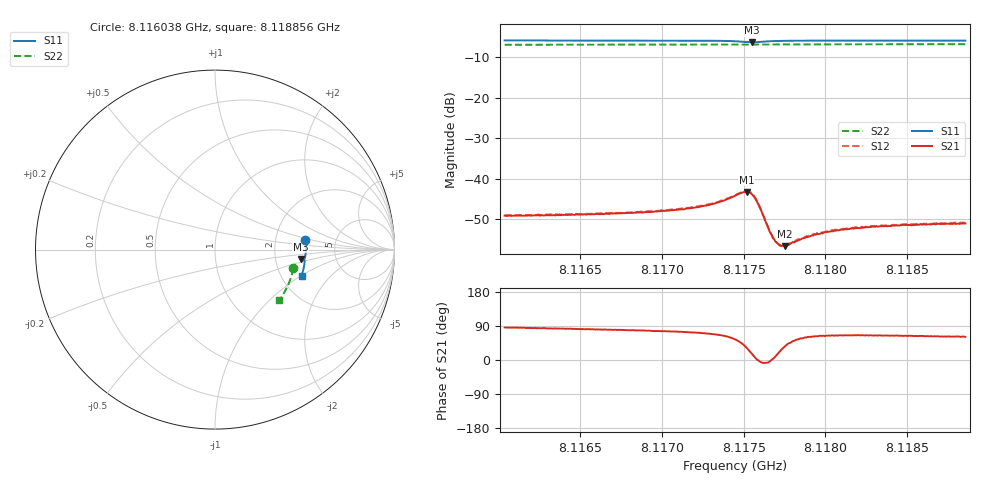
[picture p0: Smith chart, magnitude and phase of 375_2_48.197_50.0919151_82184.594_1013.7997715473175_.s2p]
#  HZ  S  RI  R  50.00
! Rohde & Schwarz Vector Network Analyzer
! Rohde-Schwarz,ZNB20-2Port,1311601062101988,3.16
! Created: UTC 3/20/2024, 11:52:52 AM
! freq[Hz]  re:S11  im:S11  re:S21  im:S21  re:S12  im:S12  re:S22  im:S22
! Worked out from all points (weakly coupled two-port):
!   401 points, 8.116038 GHz to 8.118856 GHz, reference 50 ohm
!   highest |S21| = -43.21 dB at 8.117517 GHz (marker M1); lowest = -56.6 dB at 8.11775 GHz (marker M2)
!   lowest |S11| = -6.4 dB at 8.117553 GHz (marker M3), VSWR 2.85, Z = 140 - j19 ohm
!   |S11| at or under -10 dB: nowhere
!   |S22| runs from -7.0 to -6.8 dB; largest |S21 - S12| = 0.00018
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8.1160381e9  0.5042 0.0553  0.000242 0.0035  0.000292 0.00357  0.4366 -0.1039
8.1165101e9  0.5062 0.0199  0.000563 0.0036  0.000595 0.00364  0.4291 -0.1357
8.1169821e9  0.5054 -0.0166  0.000936 0.00387  0.000986 0.00393  0.4192 -0.1671
8.11713e9  0.5043 -0.0286  0.00117 0.00406  0.00125 0.00412  0.4157 -0.1767
8.1172709e9  0.5021 -0.0409  0.00161 0.00439  0.00166 0.00448  0.412 -0.186
8.1173413e9  0.5001 -0.0475  0.00202 0.00468  0.00208 0.00476  0.41 -0.1905
8.117447e9  0.4927 -0.058  0.00359 0.00504  0.00371 0.00512  0.4068 -0.1973
8.1174893e9  0.4861 -0.0602  0.00487 0.00467  0.00501 0.00471  0.4053 -0.1999
8.1175174e9  0.4809 -0.0588  0.00582 0.00373  0.00598 0.00375  0.4044 -0.2016
8.1175386e9  0.4783 -0.0552  0.00625 0.00255  0.00637 0.00259  0.4037 -0.2026
8.1175526e9  0.4778 -0.0522  0.00616 0.00165  0.00632 0.00162  0.4033 -0.2034
8.1175738e9  0.4795 -0.0477  0.00556 0.000466  0.00571 0.000409  0.4028 -0.2045
8.1175879e9  0.4819 -0.0458  0.00494 -5.36e-05  0.00506 -9.6e-05  0.4026 -0.2052
8.1176654e9  0.4943 -0.0495  0.00212 -6.13e-05  0.00218 -0.000118  0.401 -0.2103
8.1176865e9  0.496 -0.0522  0.00179 0.000182  0.0018 0.000147  0.4004 -0.2114
8.1177147e9  0.4973 -0.0553  0.00146 0.000518  0.00149 0.000504  0.3995 -0.2133
8.1177499e9  0.4983 -0.0594  0.00121 0.000857  0.00124 0.000874  0.3985 -0.2156
8.1179189e9  0.4986 -0.0758  0.000958 0.00176  0.00101 0.0018  0.3932 -0.2264
8.1180035e9  0.4977 -0.083  0.000962 0.00199  0.001 0.00201  0.3904 -0.2318
8.1181091e9  0.4964 -0.0915  0.00101 0.00213  0.00104 0.0022  0.3868 -0.2381
8.1183909e9  0.4919 -0.113  0.00114 0.00236  0.00115 0.00241  0.3769 -0.2554
8.1188558e9  0.4826 -0.1468  0.00136 0.00247  0.0014 0.00253  0.3587 -0.2823
